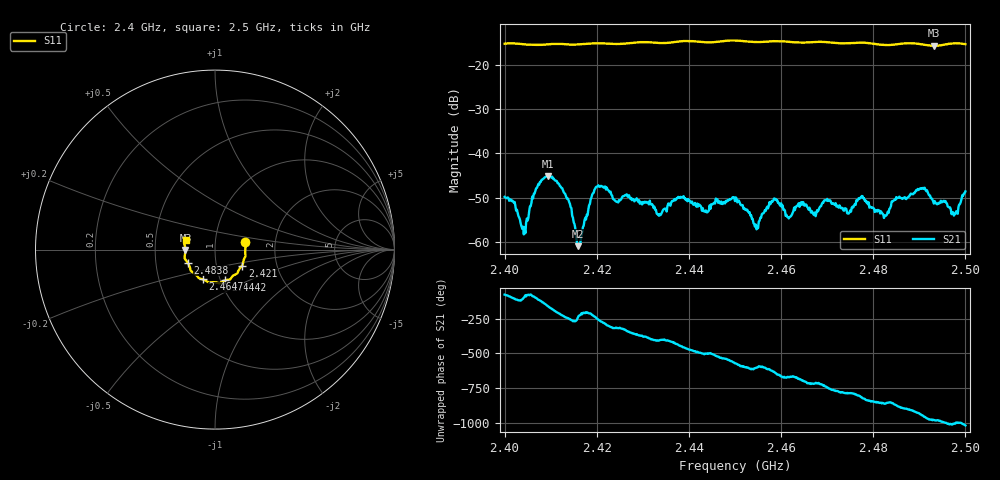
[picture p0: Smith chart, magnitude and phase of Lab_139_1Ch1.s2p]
# Hz S RI R 50
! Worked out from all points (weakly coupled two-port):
!   601 points, 2.4 GHz to 2.5 GHz, reference 50 ohm
!   highest |S21| = -45.10 dB at 2.4093 GHz (marker M1); lowest = -61.0 dB at 2.4158 GHz (marker M2)
!   lowest |S11| = -15.7 dB at 2.4932 GHz (marker M3), VSWR 1.39, Z = 35.8 - j0.124 ohm
!   |S11| at or under -10 dB: start of sweep to end of sweep
!   S12 and S22 are empty: the file has one direction only
!   S11 on the Smith chart (normalised r, x): 2.4 GHz: 1.40, +0.12; 2.421 GHz: 1.33, -0.24; 2.4442 GHz: 1.05, -0.37; 2.4647 GHz: 0.83, -0.28; 2.4838 GHz: 0.73, -0.11; 2.5 GHz: 0.71, +0.08
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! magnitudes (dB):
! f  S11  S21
! 2.4 GHz  -15.2  -49.9
! 2.4042 GHz  -15.3  -58.3
! 2.4093 GHz  -15.3  -45.1
! 2.4137 GHz  -15.3  -50.2
! 2.4158 GHz  -15.4  -61.0
! 2.4167 GHz  -15.3  -58.5
! 2.421 GHz  -15.1  -47.4
! 2.4333 GHz  -15.0  -53.8
! 2.4383 GHz  -14.6  -50.0
! 2.4442 GHz  -14.9  -53.1
! 2.45 GHz  -14.5  -50.8
! 2.4545 GHz  -14.8  -56.1
! 2.4585 GHz  -14.6  -50.2
! 2.4615 GHz  -14.8  -54.4
! 2.4647 GHz  -14.9  -51.0
! 2.4667 GHz  -14.8  -53.1
! 2.4833 GHz  -15.5  -53.5
! 2.4838 GHz  -15.5  -52.0
! 2.4907 GHz  -15.3  -47.9
! 2.4932 GHz  -15.7  -51.4
! 2.4978 GHz  -15.1  -53.7
! 2.5 GHz  -15.3  -48.6
